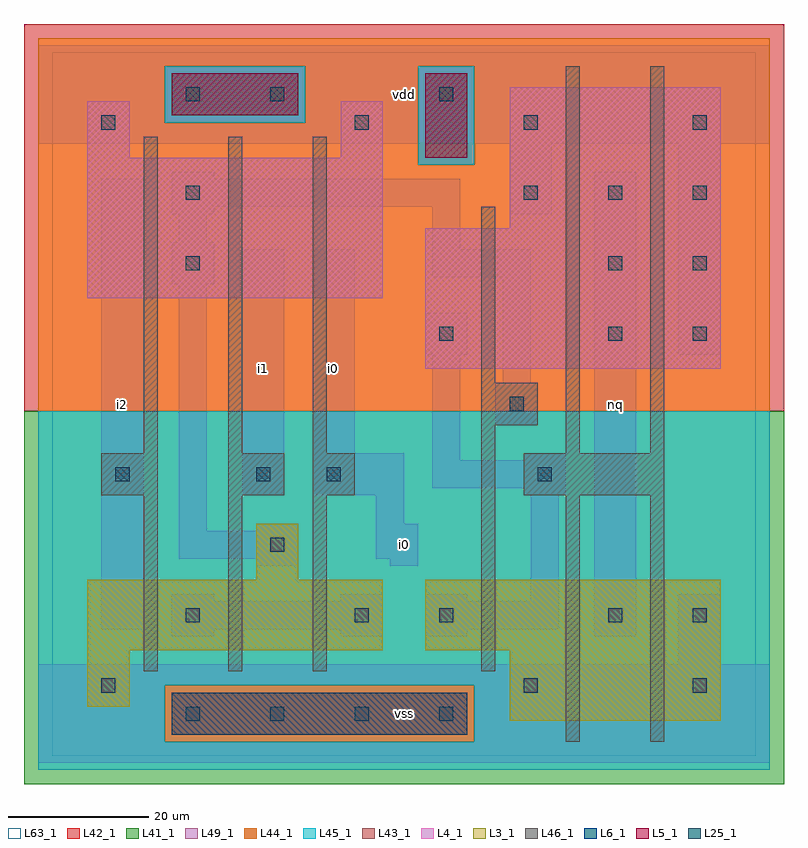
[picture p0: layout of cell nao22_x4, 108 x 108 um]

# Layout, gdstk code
import gdstk
lib = gdstk.Library(unit=1e-6, precision=1e-09)
def R(c, l, rs):  # rectangles x0, y0, x1, y1
    for r in rs: c.add(gdstk.rectangle(r[:2], r[2:], *l))
def A(c, l, x, y, w, h, nx, ny, dx, dy):  # array of equal rectangles
    R(c, l, [(x+i*dx, y+j*dy, x+i*dx+w, y+j*dy+h) for i in range(nx) for j in range(ny)])
L3_1 = (3, 1)
L4_1 = (4, 1)
L5_1 = (5, 1)
L6_1 = (6, 1)
L25_1 = (25, 1)
L41_1 = (41, 1)
L42_1 = (42, 1)
L43_1 = (43, 1)
L44_1 = (44, 1)
L45_1 = (45, 1)
L46_1 = (46, 1)
L49_1 = (49, 1)
L63_1 = (63, 1)

nao22_x4 = lib.new_cell('nao22_x4')
R(nao22_x4, L3_1, [(65,5,95,15), (5,7,11,15), (5,15,47,25), (53,15,95,25), (29,25,35,33)])
R(nao22_x4, L4_1, [(53,55,95,75), (5,65,47,85), (65,75,95,95), (5,85,11,93), (41,85,47,93)])
R(nao22_x4, L5_1, [(53,85,59,97), (17,91,35,97)])
R(nao22_x4, L6_1, [(17,3,59,9)])
A(nao22_x4, L25_1, 19, 5, 2, 2, 4, 1, 12, 0)
A(nao22_x4, L25_1, 67, 79, 2, 2, 3, 1, 12, 0)
A(nao22_x4, L25_1, 43, 89, 2, 2, 3, 1, 24, 0)
R(nao22_x4, L25_1, [(7,9,9,11), (67,9,69,11), (91,9,93,11), (19,19,21,21), (43,19,45,21), (55,19,57,21), (79,19,81,21), (91,19,93,21), (31,29,33,31), (9,39,11,41), (29,39,31,41), (39,39,41,41), (69,39,71,41), (65,49,67,51), (55,59,57,61), (79,59,81,61), (91,59,93,61), (19,69,21,71), (79,69,81,71), (91,69,93,71), (19,79,21,81), (7,89,9,91), (19,93,21,95), (31,93,33,95), (55,93,57,95)])
R(nao22_x4, L41_1, [(-4,-4,104,49)])
R(nao22_x4, L42_1, [(-4,49,104,104)])
R(nao22_x4, L43_1, [(17,3,59,9), (65,5,95,15), (5,7,11,15), (5,15,47,25), (53,15,95,25), (29,25,35,33), (53,55,95,75), (5,65,47,85), (65,75,95,95), (5,85,11,93), (41,85,47,93), (53,85,59,97), (17,91,35,97)])
R(nao22_x4, L44_1, [(16,2,60,10), (-2,49,102,84), (-2,84,52,90), (60,84,102,98), (-2,90,16,98), (36,90,52,98), (-2,98,102,102)])
R(nao22_x4, L45_1, [(-2,-2,102,2), (-2,2,16,10), (60,2,102,10), (-2,10,102,49), (52,84,60,98), (16,90,36,98)])
A(nao22_x4, L46_1, 13, 12, 2, 25, 3, 1, 12, 0)
A(nao22_x4, L46_1, 13, 43, 2, 45, 3, 1, 12, 0)
R(nao22_x4, L46_1, [(73,2,75,37), (85,2,87,37), (61,12,63,47), (7,37,15,43), (25,37,33,43), (37,37,43,43), (67,37,87,43), (73,43,75,98), (85,43,87,98), (61,47,69,53), (61,53,63,78)])
R(nao22_x4, L49_1, [(-2,-1,102,13), (89,13,95,23), (17,17,23,18), (41,17,47,18), (53,17,59,18), (77,17,83,83), (7,18,13,82), (17,18,47,22), (53,18,72,22), (17,22,23,23), (41,22,47,23), (53,22,59,23), (68,22,72,37), (29,27,35,28), (48,27,52,28), (18,28,35,32), (46,28,52,33), (18,32,22,67), (29,32,35,33), (46,33,50,37), (27,37,33,72), (37,37,50,43), (67,37,73,38), (54,38,73,42), (54,42,58,57), (67,42,73,43), (37,43,43,72), (63,47,69,53), (64,53,68,68), (53,57,59,63), (89,57,95,87), (17,67,23,73), (54,68,68,72), (54,72,58,78), (18,73,22,77), (17,77,23,78), (65,77,71,87), (17,78,58,82), (17,82,23,83), (-2,87,102,101)])
R(nao22_x4, L63_1, [(0,0,100,100)])
nao22_x4.add(gdstk.Label('i2', (10,50), layer=49, texttype=1))
nao22_x4.add(gdstk.Label('i2', (10,50), layer=49, texttype=1))
nao22_x4.add(gdstk.Label('i1', (30,55), layer=49, texttype=1))
nao22_x4.add(gdstk.Label('i0', (40,55), layer=49, texttype=1))
nao22_x4.add(gdstk.Label('i0', (40,55), layer=49, texttype=1))
nao22_x4.add(gdstk.Label('i1', (30,55), layer=49, texttype=1))
nao22_x4.add(gdstk.Label('vss', (50,6), layer=49, texttype=1))
nao22_x4.add(gdstk.Label('vss', (50,6), layer=49, texttype=1))
nao22_x4.add(gdstk.Label('i0', (50,30), layer=49, texttype=1))
nao22_x4.add(gdstk.Label('i0', (50,30), layer=49, texttype=1))
nao22_x4.add(gdstk.Label('vdd', (50,94), layer=49, texttype=1))
nao22_x4.add(gdstk.Label('vdd', (50,94), layer=49, texttype=1))
nao22_x4.add(gdstk.Label('nq', (80,50), layer=49, texttype=1))
nao22_x4.add(gdstk.Label('nq', (80,50), layer=49, texttype=1))

lib.write_gds('nao22_x4.gds')
